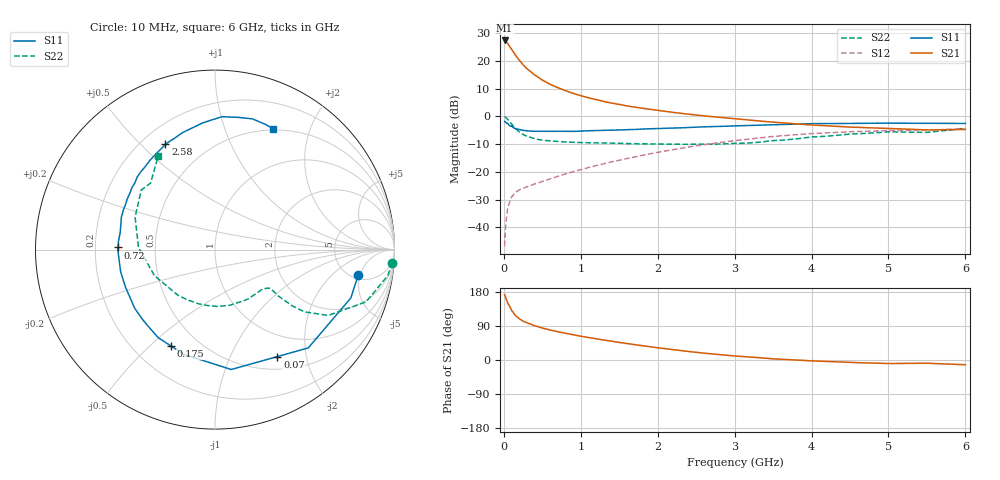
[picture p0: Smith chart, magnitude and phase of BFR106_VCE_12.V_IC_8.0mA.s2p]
! Infineon Technologies  Discrete & RF Semiconductors
! BFR106
! VCE =  12. V,  IC =  8.0 mA
! Common Emitter S-Parameters:  Nov 2015
# GHz  S  MA  R  50
!  f  S11  S21  S12  S22
! GHz  MAG  ANG  MAG  ANG  MAG  ANG  MAG  ANG
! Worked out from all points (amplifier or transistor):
!   210 points, 10 MHz to 6 GHz, reference 50 ohm
!   highest |S21| = 27.4 dB at 10 MHz (marker M1)
!   |S21| within 3 dB of that: start of sweep to 96.11 MHz
!   unconditionally stable (mu >= 1): 547 MHz to 1.879 GHz; 5.286 GHz to end of sweep
!   at 185 MHz: K = 0.49, MSG = 23.8 dB, |S12| = -26.7 dB
!   at 1.52 GHz: K = 1.08, MAG = 8.2 dB, |S12| = -15.6 dB
!   at 6 GHz: K = 1.01, MAG = -0.7 dB, |S12| = -4.4 dB
!   S11 on the Smith chart (normalised r, x): 10 MHz: 5.72, -4.65; 70 MHz: 0.67, -1.53; 175 MHz: 0.35, -0.58; 720 MHz: 0.30, +0.01; 2.58 GHz: 0.29, +0.59; 6 GHz: 0.48, +1.48
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0.01  0.8109 -9.9  23.36 172.7  0.0046 86.2  0.9878 -4.2
0.02  0.8033 -19.6  22.91 167.4  0.0095 80.4  0.9746 -8.5
0.05  0.755 -46.5  20.64 150.3  0.022 67.3  0.8902 -19.1
0.07  0.69 -59.7  18.65 143.6  0.0272 60.8  0.8223 -23.0
0.1  0.6741 -82.3  16.28 130.8  0.0353 54.8  0.7294 -30.2
0.15  0.6089 -106.5  12.68 117.2  0.0429 48.0  0.6065 -34.9
0.175  0.5903 -114.5  11.46 113.5  0.0452 47.1  0.5671 -35.5
0.2  0.5838 -122.8  10.3 108.9  0.0475 46.3  0.5277 -36.1
0.24  0.565 -132.4  8.846 103.8  0.0501 45.6  0.4831 -36.2
0.3  0.5539 -144.0  7.235 97.8  0.0539 46.2  0.4391 -36.2
0.4  0.5407 -157.2  5.581 90.4  0.0607 49.1  0.3954 -35.4
0.5  0.5401 -166.7  4.513 84.3  0.0671 51.8  0.3729 -35.3
0.6  0.538 -174.3  3.806 79.2  0.075 54.8  0.362 -36.3
0.72  0.5406 178.7  3.218 73.8  0.085 57.4  0.3522 -38.1
1.02  0.5451 164.0  2.321 62.1  0.1118 61.9  0.3383 -44.4
1.4  0.5646 150.0  1.739 49.5  0.1515 63.8  0.3315 -55.6
2.02  0.6029 130.6  1.271 31.7  0.2284 61.5  0.318 -79.3
2.58  0.648 115.2  1.031 18.6  0.3064 55.5  0.3149 -105.9
3.1  0.6813 103.4  0.881 9.3  0.3797 47.7  0.3287 -134.7
4.1  0.7417 85.7  0.689 -3.1  0.4981 29.7  0.4325 173.9
5.1  0.7558 72.8  0.601 -9.1  0.557 13.2  0.5253 139.6
6  0.7471 64.4  0.583 -12.5  0.6013 1.5  0.6106 121.2
